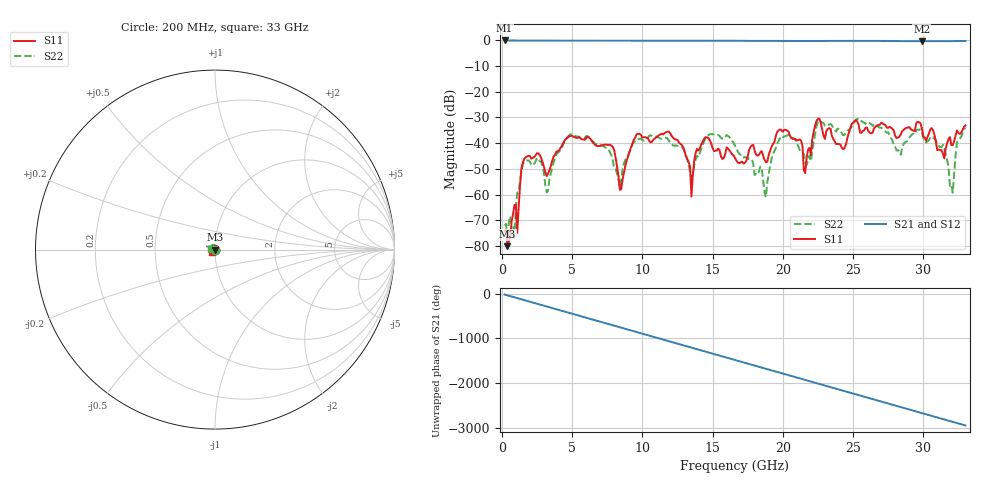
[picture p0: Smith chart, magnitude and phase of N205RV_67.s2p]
# GHZ S RI R 50
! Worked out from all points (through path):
!   329 points, 200 MHz to 33 GHz, reference 50 ohm
!   highest |S21| = -0.02 dB at 200 MHz (marker M1); lowest = -0.3 dB at 29.9 GHz (marker M2)
!   group delay of S21, straight-line fit = 248 ps
!   lowest |S11| = -80.1 dB at 400 MHz (marker M3), VSWR 1.00, Z = 50 + j0.00669 ohm
!   |S11| at or under -10 dB: start of sweep to end of sweep
!   |S22| runs from -77.4 to -30.5 dB; largest |S21 - S12| = 0.0019
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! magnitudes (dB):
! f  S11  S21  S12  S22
! 200 MHz  -74.1  0.0  0.0  -72.0
! 400 MHz  -80.1  0.0  0.0  -77.4
! 900 MHz  -64.1  -0.1  -0.1  -77.0
! 1.1 GHz  -74.9  -0.1  -0.1  -59.3
! 1.6 GHz  -46.2  -0.1  -0.1  -47.1
! 3.2 GHz  -52.8  -0.1  -0.1  -59.2
! 5.7 GHz  -38.5  -0.1  -0.1  -38.2
! 7.9 GHz  -41.4  -0.1  -0.1  -46.8
! 8.4 GHz  -58.2  -0.1  -0.1  -57.1
! 11.2 GHz  -36.9  -0.2  -0.2  -37.9
! 12.9 GHz  -41.5  -0.2  -0.2  -41.9
! 13.5 GHz  -60.8  -0.2  -0.2  -53.7
! 14.5 GHz  -37.7  -0.1  -0.1  -38.2
! 16.6 GHz  -45.8  -0.1  -0.1  -41.0
! 18.8 GHz  -47.4  -0.2  -0.2  -61.0
! 19.9 GHz  -34.8  -0.3  -0.3  -37.2
! 21.6 GHz  -51.6  -0.2  -0.2  -47.3
! 22.1 GHz  -38.5  -0.2  -0.2  -42.9
! 27.6 GHz  -33.6  -0.2  -0.2  -36.8
! 29.9 GHz  -34.2  -0.3  -0.3  -35.5
! 32.1 GHz  -40.8  -0.3  -0.3  -59.3
! 33 GHz  -33.1  -0.2  -0.2  -34.0
